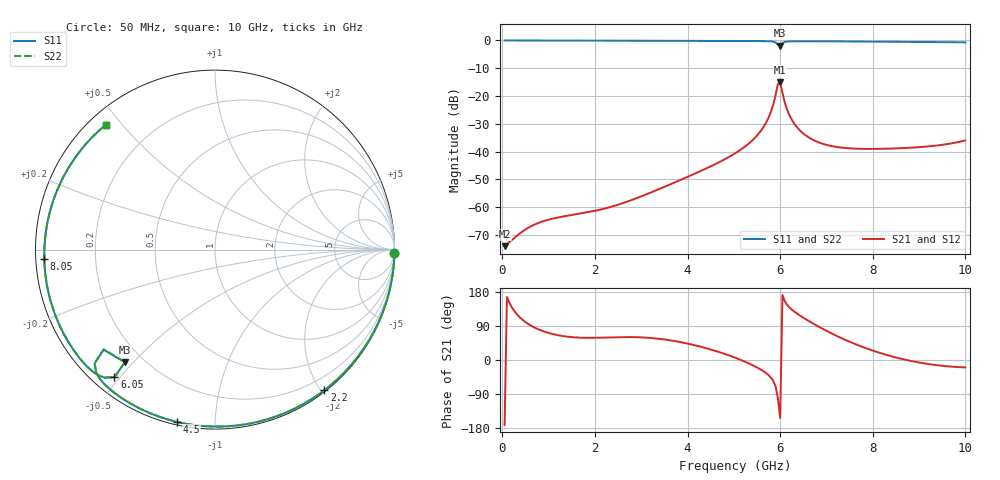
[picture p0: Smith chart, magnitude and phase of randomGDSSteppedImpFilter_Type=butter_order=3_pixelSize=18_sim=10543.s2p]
! freq	dB(S11)	phase(S11)	dB(S12)	phase(S12)
!  dB(S21)	phase(S21)	dB(S22)	phase(S22)
!S-par simulation data
#  GHz  S  DB  R 50
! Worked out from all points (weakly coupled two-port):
!   200 points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, 50 MHz to 10 GHz, reference 50 ohm
!   highest |S21| = -15.08 dB at 6 GHz (marker M1); lowest = -74.0 dB at 50 MHz (marker M2)
!   lowest |S11| = -1.9 dB at 6 GHz (marker M3), VSWR 9.23, Z = 6.65 - j23.7 ohm
!   |S11| at or under -10 dB: nowhere
!   |S22| runs from -1.9 to 0.0 dB; largest |S21 - S12| = 0
!   S11 on the Smith chart (normalised r, x): 50 MHz: 0, -94; 2.2 GHz: 0.02, -2.04; 4.5 GHz: 0.01, -0.80; 6.05 GHz: 0.06, -0.48; 8.05 GHz: 0.02, -0.03; 10 GHz: 0.05, +0.45
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0.05  -0.00 -1.2  -74.01 -171.9  -74.01 -171.9  -0.00 -1.2
0.75  -0.02 -18.2  -65.85 82.5  -65.85 82.5  -0.02 -18.2
1.75  -0.05 -41.8  -62.09 58.7  -62.09 58.7  -0.05 -41.8
2.2  -0.07 -52.1  -60.52 59.2  -60.52 59.2  -0.07 -52.1
3.4  -0.10 -78.9  -53.37 55.7  -53.37 55.7  -0.10 -78.9
4.5  -0.15 -102.4  -45.29 27.8  -45.29 27.8  -0.15 -102.4
5.05  -0.18 -114.1  -40.37 5.1  -40.37 5.1  -0.18 -114.1
5.4  -0.20 -121.6  -35.93 -13.4  -35.93 -13.4  -0.20 -121.7
5.65  -0.24 -127.5  -30.89 -30.5  -30.89 -30.5  -0.24 -127.6
5.8  -0.33 -132.0  -25.72 -46.2  -25.72 -46.2  -0.33 -132.0
5.9  -0.69 -136.6  -19.76 -69.3  -19.76 -69.3  -0.70 -136.7
5.95  -1.58 -138.0  -15.71 -99.6  -15.71 -99.6  -1.59 -138.1
6  -1.89 -128.7  -15.08 -153.4  -15.08 -153.4  -1.91 -128.7
6.05  -0.87 -128.2  -18.88 171.6  -18.88 171.6  -0.88 -128.2
6.15  -0.40 -132.8  -24.88 145.7  -24.88 145.7  -0.40 -132.8
6.3  -0.31 -137.3  -29.81 128.3  -29.81 128.3  -0.31 -137.3
6.7  -0.30 -146.7  -35.68 97.1  -35.68 97.1  -0.30 -146.7
7.25  -0.34 -158.7  -38.40 61.8  -38.40 61.8  -0.34 -158.7
8.05  -0.42 -176.8  -39.01 22.8  -39.01 22.8  -0.42 -176.8
8.35  -0.46 176.1  -38.91 11.6  -38.91 11.6  -0.46 176.1
9.2  -0.57 154.4  -38.12 -10.6  -38.12 -10.6  -0.57 154.4
10  -0.69 131.2  -35.95 -19.6  -35.95 -19.6  -0.69 131.1
